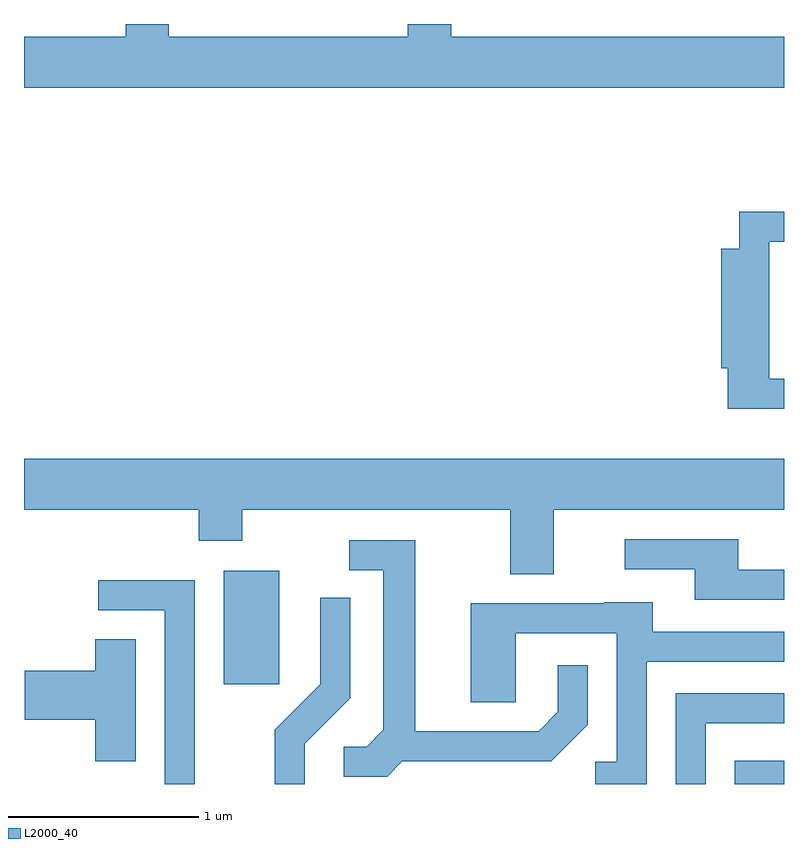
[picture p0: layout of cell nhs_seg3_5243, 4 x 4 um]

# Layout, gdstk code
import gdstk
lib = gdstk.Library(unit=1e-6, precision=1e-09)
def R(c, l, rs):  # rectangles x0, y0, x1, y1
    for r in rs: c.add(gdstk.rectangle(r[:2], r[2:], *l))
def P(c, l, *ps):  # polygons
    for p in ps: c.add(gdstk.Polygon(p, *l))
L2000_40 = (2000, 40)

nhs_seg3_5243 = lib.new_cell('nhs_seg3_5243')
R(nhs_seg3_5243, L2000_40, [(343.351,1137.892,343.611,1138.014), (340.661,1138.416,340.954,1139.014)])
P(nhs_seg3_5243, L2000_40, [(343.611,1141.824),(341.859,1141.824),(341.859,1141.892),(341.631,1141.892),(341.631,1141.824),(340.374,1141.824),(340.374,1141.892),(340.146,1141.892),(340.146,1141.824),(339.611,1141.824),(339.611,1141.556),(343.611,1141.556)],
  [(343.611,1140.024),(343.534,1140.024),(343.534,1140.746),(343.611,1140.746),(343.611,1140.904),(343.376,1140.904),(343.376,1140.709),(343.281,1140.709),(343.281,1140.081),(343.316,1140.081),(343.316,1139.866),(343.611,1139.866)],
  [(342.399,1139.336),(343.611,1139.336),(343.611,1139.604),(339.611,1139.604),(339.611,1139.336),(340.531,1139.336),(340.531,1139.171),(340.759,1139.171),(340.759,1139.336),(342.171,1139.336),(342.171,1138.996),(342.399,1138.996)],
  [(343.611,1139.019),(343.369,1139.019),(343.369,1139.179),(342.773,1139.179),(342.773,1139.021),(343.141,1139.021),(343.141,1138.861),(343.611,1138.861)],
  [(341.602,1138.011),(342.387,1138.011),(342.579,1138.204),(342.579,1138.518),(342.421,1138.518),(342.421,1138.272),(342.319,1138.169),(341.669,1138.169),(341.669,1139.174),(341.323,1139.174),(341.323,1139.016),(341.501,1139.016),(341.501,1138.177),(341.414,1138.089),(341.293,1138.089),(341.293,1137.931),(341.522,1137.931)],
  [(340.509,1138.964),(340.003,1138.964),(340.003,1138.806),(340.351,1138.806),(340.351,1137.892),(340.509,1137.892)],
  [(341.089,1138.104),(341.329,1138.344),(341.329,1138.873),(341.171,1138.873),(341.171,1138.417),(340.931,1138.177),(340.931,1137.892),(341.089,1137.892)],
  [(342.889,1138.536),(343.611,1138.536),(343.611,1138.694),(342.919,1138.694),(342.919,1138.849),(342.665,1138.849),(342.665,1138.844),(341.961,1138.844),(341.961,1138.321),(342.199,1138.321),(342.199,1138.686),(342.731,1138.686),(342.731,1138.009),(342.618,1138.009),(342.618,1137.892),(342.889,1137.892)],
  [(340.199,1138.654),(339.986,1138.654),(339.986,1138.489),(339.616,1138.489),(339.616,1138.231),(339.986,1138.231),(339.986,1138.011),(340.199,1138.011)],
  [(343.199,1138.211),(343.611,1138.211),(343.611,1138.369),(343.041,1138.369),(343.041,1137.892),(343.199,1137.892)])

lib.write_gds('nhs_seg3_5243.gds')
